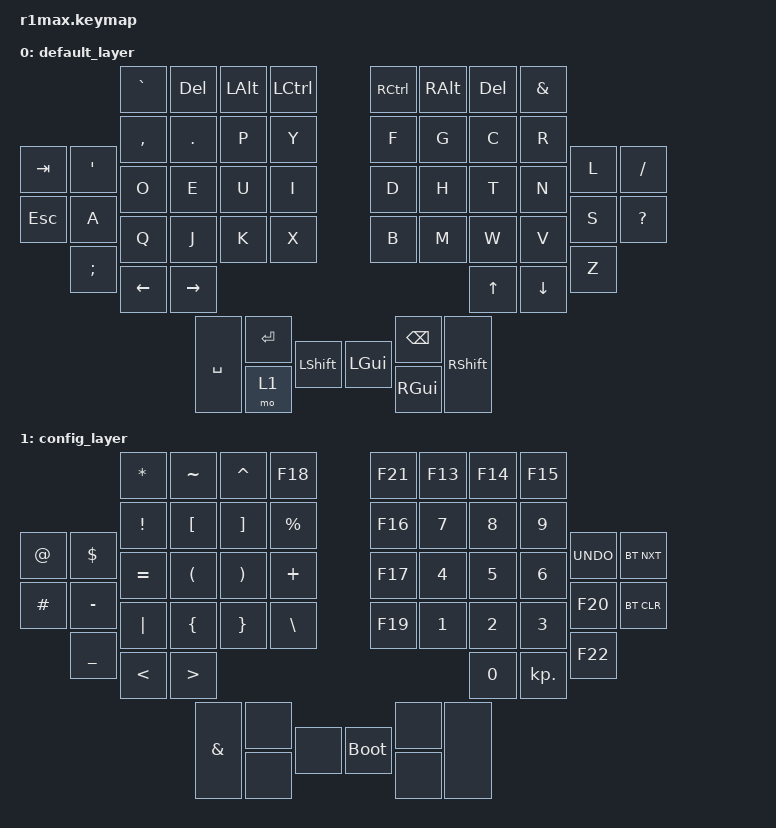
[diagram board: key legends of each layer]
#include <behaviors.dtsi>
#include <dt-bindings/zmk/keys.h>
#include <dt-bindings/zmk/bt.h>
#define L_CFG 1
#define BT(x) &bt BT_SEL x


/ {
    keymap {
        compatible = "zmk,keymap";
        default_layer {
            bindings = <
                            &kp GRAVE     &kp DEL       &kp LALT      &kp LCTRL          &kp RCTRL     &kp RALT      &kp DEL       &kp AMPS     
                            &kp COMMA     &kp DOT       &kp P         &kp Y              &kp F         &kp G         &kp C         &kp R                  
&kp TAB       &kp SQT       &kp O         &kp E         &kp U         &kp I              &kp D         &kp H         &kp T         &kp N         &kp L         &kp SLASH
&kp ESC       &kp A         &kp Q         &kp J         &kp K         &kp X              &kp B         &kp M         &kp W         &kp V         &kp S         &kp QMARK
              &kp SEMI      &kp LEFT      &kp RIGHT                                                                  &kp UP        &kp DOWN      &kp Z
                                          &kp SPACE     &kp RET       &kp LGUI         &kp RGUI        &mo 1         &kp BSPC
                                                        &kp LSHIFT                                     &kp RSHIFT 
            >;
        };
       
        config_layer{
            bindings = <
                                     &kp STAR &kp TILDE &kp CARET   &kp F18                        &kp F21    &kp F13  &kp F14   &kp F15 
                                     &kp EXCL &kp LBKT  &kp RBKT    &kp PRCNT                      &kp F16   &kp N7    &kp N8    &kp N9 
            &kp AT         &kp DLLR &kp EQUAL &kp LPAR  &kp RPAR    &kp PLUS                       &kp F17   &kp N4    &kp N5    &kp N6    &kp K_UNDO &bt BT_NXT
            &kp HASH       &kp MINUS &kp PIPE &kp LBRC  &kp RBRC    &kp BSLH                       &kp F19   &kp N1    &kp N2    &kp N3    &kp F20    &bt BT_CLR
                           &kp UNDER &kp LT   &kp GT                                                         &kp N0   &kp KP_DOT &kp F22     
                                                        &kp AMPS &none &bootloader             &none &none &none 
                                                                 &none                               &none 
            >;
        }; 
        extra {
            status = "reserved";
        };

        extra1 {
            status = "reserved";
        };

        extra2 {
            status = "reserved";
        }; 

        extra3 {
            status = "reserved";
        }; 
    };
 };
